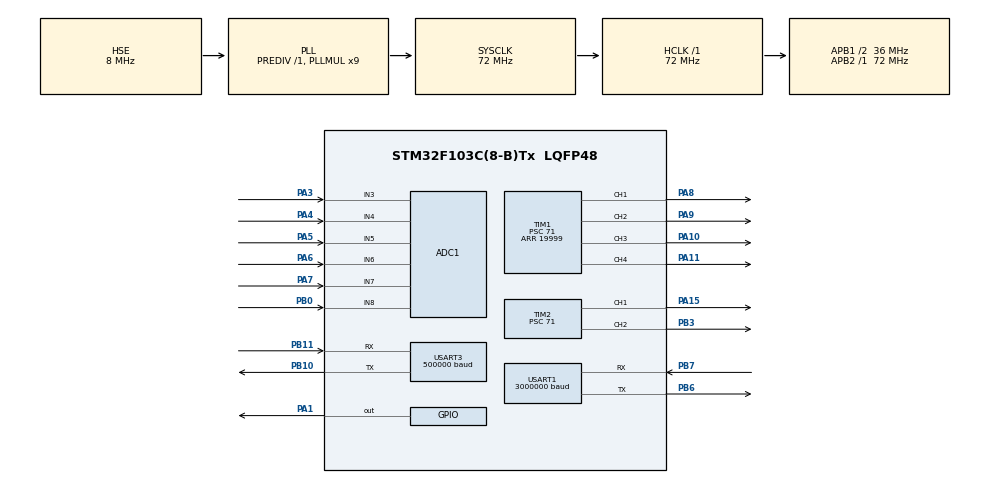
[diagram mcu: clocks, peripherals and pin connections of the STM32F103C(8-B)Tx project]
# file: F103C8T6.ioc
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ADC1.Channel-12\#ChannelRegularConversion=ADC_CHANNEL_3
ADC1.Channel-13\#ChannelRegularConversion=ADC_CHANNEL_4
ADC1.Channel-14\#ChannelRegularConversion=ADC_CHANNEL_5
ADC1.Channel-15\#ChannelRegularConversion=ADC_CHANNEL_6
ADC1.Channel-16\#ChannelRegularConversion=ADC_CHANNEL_7
ADC1.Channel-17\#ChannelRegularConversion=ADC_CHANNEL_8
ADC1.ContinuousConvMode=ENABLE
ADC1.NbrOfConversion=6
ADC1.NbrOfConversionFlag=1
ADC1.Rank-12\#ChannelRegularConversion=1
ADC1.Rank-13\#ChannelRegularConversion=2
ADC1.Rank-14\#ChannelRegularConversion=3
ADC1.Rank-15\#ChannelRegularConversion=4
ADC1.Rank-16\#ChannelRegularConversion=5
ADC1.Rank-17\#ChannelRegularConversion=6
ADC1.SamplingTime-12\#ChannelRegularConversion=ADC_SAMPLETIME_13CYCLES_5
ADC1.SamplingTime-13\#ChannelRegularConversion=ADC_SAMPLETIME_13CYCLES_5
ADC1.SamplingTime-14\#ChannelRegularConversion=ADC_SAMPLETIME_13CYCLES_5
ADC1.SamplingTime-15\#ChannelRegularConversion=ADC_SAMPLETIME_13CYCLES_5
ADC1.SamplingTime-16\#ChannelRegularConversion=ADC_SAMPLETIME_13CYCLES_5
ADC1.SamplingTime-17\#ChannelRegularConversion=ADC_SAMPLETIME_13CYCLES_5
ADC1.master=1
Dma.ADC1.2.Direction=DMA_PERIPH_TO_MEMORY
Dma.ADC1.2.Instance=DMA1_Channel1
Dma.ADC1.2.MemDataAlignment=DMA_MDATAALIGN_HALFWORD
Dma.ADC1.2.MemInc=DMA_MINC_ENABLE
Dma.ADC1.2.Mode=DMA_CIRCULAR
Dma.ADC1.2.PeriphDataAlignment=DMA_PDATAALIGN_HALFWORD
Dma.ADC1.2.PeriphInc=DMA_PINC_DISABLE
Dma.ADC1.2.Priority=DMA_PRIORITY_LOW
Dma.Request0=USART1_RX
Dma.Request1=USART3_RX
Dma.Request2=ADC1
Dma.Request3=USART1_TX
Dma.Request4=USART3_TX
Dma.USART1_RX.0.Direction=DMA_PERIPH_TO_MEMORY
Dma.USART1_RX.0.Instance=DMA1_Channel5
Dma.USART1_RX.0.MemDataAlignment=DMA_MDATAALIGN_BYTE
Dma.USART1_RX.0.MemInc=DMA_MINC_ENABLE
Dma.USART1_RX.0.Mode=DMA_NORMAL
Dma.USART1_RX.0.PeriphDataAlignment=DMA_PDATAALIGN_BYTE
Dma.USART1_RX.0.PeriphInc=DMA_PINC_DISABLE
Dma.USART1_RX.0.Priority=DMA_PRIORITY_LOW
Dma.USART1_TX.3.Direction=DMA_MEMORY_TO_PERIPH
Dma.USART1_TX.3.Instance=DMA1_Channel4
Dma.USART1_TX.3.MemDataAlignment=DMA_MDATAALIGN_BYTE
Dma.USART1_TX.3.MemInc=DMA_MINC_ENABLE
Dma.USART1_TX.3.Mode=DMA_NORMAL
Dma.USART1_TX.3.PeriphDataAlignment=DMA_PDATAALIGN_BYTE
Dma.USART1_TX.3.PeriphInc=DMA_PINC_DISABLE
Dma.USART1_TX.3.Priority=DMA_PRIORITY_LOW
Dma.USART3_RX.1.Direction=DMA_PERIPH_TO_MEMORY
Dma.USART3_RX.1.Instance=DMA1_Channel3
Dma.USART3_RX.1.MemDataAlignment=DMA_MDATAALIGN_HALFWORD
Dma.USART3_RX.1.MemInc=DMA_MINC_ENABLE
Dma.USART3_RX.1.Mode=DMA_NORMAL
Dma.USART3_RX.1.PeriphDataAlignment=DMA_PDATAALIGN_HALFWORD
Dma.USART3_RX.1.PeriphInc=DMA_PINC_DISABLE
Dma.USART3_RX.1.Priority=DMA_PRIORITY_LOW
Dma.USART3_TX.4.Direction=DMA_MEMORY_TO_PERIPH
Dma.USART3_TX.4.Instance=DMA1_Channel2
Dma.USART3_TX.4.MemDataAlignment=DMA_MDATAALIGN_BYTE
Dma.USART3_TX.4.MemInc=DMA_MINC_ENABLE
Dma.USART3_TX.4.Mode=DMA_NORMAL
Dma.USART3_TX.4.PeriphDataAlignment=DMA_PDATAALIGN_BYTE
Dma.USART3_TX.4.PeriphInc=DMA_PINC_DISABLE
Dma.USART3_TX.4.Priority=DMA_PRIORITY_LOW
FREERTOS.BinarySemaphores01=RS485RX,Dynamic,NULL,Depleted
FREERTOS.INCLUDE_xTaskGetHandle=1
FREERTOS.Tasks01=RS485,32,256,RS485Task,Default,NULL,Dynamic,NULL,NULL;SENSOR_GET,10,256,SENSOR_GETTask,Default,NULL,Dynamic,NULL,NULL;DUOJI_MOVE,8,256,DUOJI_MOVETask,Default,NULL,Dynamic,NULL,NULL;JIAOZHUN,9,256,JIAOZHUNTask04,Default,NULL,Dynamic,NULL,NULL
FREERTOS.configTOTAL_HEAP_SIZE=10240
Mcu.Family=STM32F1
Mcu.Name=STM32F103C(8-B)Tx
Mcu.Package=LQFP48
NVIC.DMA1_Channel1_IRQn=true\:5\:0\:false\:false\:true\:true\:false\:true\:true
NVIC.DMA1_Channel2_IRQn=true\:5\:0\:false\:false\:true\:true\:false\:true\:true
NVIC.DMA1_Channel3_IRQn=true\:5\:0\:false\:false\:true\:true\:false\:true\:true
NVIC.DMA1_Channel4_IRQn=true\:5\:0\:false\:false\:true\:true\:false\:true\:true
NVIC.DMA1_Channel5_IRQn=true\:5\:0\:false\:false\:true\:true\:false\:true\:true
NVIC.PriorityGroup=NVIC_PRIORITYGROUP_4
NVIC.TIM3_IRQn=true\:15\:0\:false\:false\:true\:false\:false\:true\:true
NVIC.TimeBase=TIM3_IRQn
NVIC.TimeBaseIP=TIM3
NVIC.USART1_IRQn=true\:5\:0\:false\:false\:true\:true\:true\:true\:true
NVIC.USART3_IRQn=true\:5\:0\:false\:false\:true\:true\:true\:true\:true
PA1.GPIO_Speed=GPIO_SPEED_FREQ_MEDIUM
PA1.Signal=GPIO_Output
PA10.GPIO_ModeDefaultPP=GPIO_MODE_AF_PP
PA10.Signal=S_TIM1_CH3
PA11.GPIO_ModeDefaultPP=GPIO_MODE_AF_PP
PA11.Signal=S_TIM1_CH4
PA13.Mode=Serial_Wire
PA13.Signal=SYS_JTMS-SWDIO
PA14.Mode=Serial_Wire
PA14.Signal=SYS_JTCK-SWCLK
PA15.Signal=S_TIM2_CH1_ETR
PA3.Signal=ADCx_IN3
PA4.Signal=ADCx_IN4
PA5.Signal=ADCx_IN5
PA6.Signal=ADCx_IN6
PA7.Signal=ADCx_IN7
PA8.GPIO_ModeDefaultPP=GPIO_MODE_AF_PP
PA8.Signal=S_TIM1_CH1
PA9.GPIO_ModeDefaultPP=GPIO_MODE_AF_PP
PA9.Signal=S_TIM1_CH2
PB0.Signal=ADCx_IN8
PB10.Mode=Asynchronous
PB10.Signal=USART3_TX
PB11.Mode=Asynchronous
PB11.Signal=USART3_RX
PB3.Signal=S_TIM2_CH2
PB6.Mode=Asynchronous
PB6.Signal=USART1_TX
PB7.Mode=Asynchronous
PB7.Signal=USART1_RX
PD0-OSC_IN.Mode=HSE-External-Oscillator
PD0-OSC_IN.Signal=RCC_OSC_IN
PD1-OSC_OUT.Mode=HSE-External-Oscillator
PD1-OSC_OUT.Signal=RCC_OSC_OUT
ProjectManager.HeapSize=0x200
ProjectManager.StackSize=0x400
ProjectManager.TargetToolchain=MDK-ARM V5.32
RCC.ADCPresc=RCC_ADCPCLK2_DIV6
RCC.AHBFreq_Value=72000000
RCC.APB1CLKDivider=RCC_HCLK_DIV2
RCC.APB1Freq_Value=36000000
RCC.APB1TimFreq_Value=72000000
RCC.APB2Freq_Value=72000000
RCC.APB2TimFreq_Value=72000000
RCC.HCLKFreq_Value=72000000
RCC.PLLMUL=RCC_PLL_MUL9
RCC.PLLSourceVirtual=RCC_PLLSOURCE_HSE
RCC.SYSCLKFreq_VALUE=72000000
RCC.SYSCLKSource=RCC_SYSCLKSOURCE_PLLCLK
RCC.USBFreq_Value=72000000
SH.ADCx_IN3.0=ADC1_IN3,IN3
SH.ADCx_IN4.0=ADC1_IN4,IN4
SH.ADCx_IN5.0=ADC1_IN5,IN5
SH.ADCx_IN6.0=ADC1_IN6,IN6
SH.ADCx_IN7.0=ADC1_IN7,IN7
SH.ADCx_IN8.0=ADC1_IN8,IN8
SH.S_TIM1_CH1.0=TIM1_CH1,PWM Generation1 CH1
SH.S_TIM1_CH2.0=TIM1_CH2,PWM Generation2 CH2
SH.S_TIM1_CH3.0=TIM1_CH3,PWM Generation3 CH3
SH.S_TIM1_CH4.0=TIM1_CH4,PWM Generation4 CH4
SH.S_TIM2_CH1_ETR.0=TIM2_CH1,PWM Generation1 CH1
SH.S_TIM2_CH2.0=TIM2_CH2,PWM Generation2 CH2
TIM1.Channel-PWM\ Generation1\ CH1=TIM_CHANNEL_1
TIM1.Channel-PWM\ Generation2\ CH2=TIM_CHANNEL_2
TIM1.Channel-PWM\ Generation3\ CH3=TIM_CHANNEL_3
TIM1.Channel-PWM\ Generation4\ CH4=TIM_CHANNEL_4
TIM1.CounterMode=TIM_COUNTERMODE_UP
TIM1.Period=19999
TIM1.Prescaler=71
TIM1.Pulse-PWM\ Generation1\ CH1=1261
TIM1.Pulse-PWM\ Generation2\ CH2=1838
TIM1.Pulse-PWM\ Generation3\ CH3=1456
TIM1.Pulse-PWM\ Generation4\ CH4=1488
TIM1.TIM_MasterOutputTrigger=TIM_TRGO_OC1REF
TIM2.Channel-PWM\ Generation1\ CH1=TIM_CHANNEL_1
TIM2.Channel-PWM\ Generation2\ CH2=TIM_CHANNEL_2
TIM2.Period=19999
TIM2.Prescaler=71
TIM2.Pulse-PWM\ Generation1\ CH1=1500
TIM2.Pulse-PWM\ Generation2\ CH2=1612
TIM4.Prescaler=71
USART1.BaudRate=3000000
USART1.VirtualMode=VM_ASYNC
USART3.BaudRate=500000
USART3.VirtualMode=VM_ASYNC
VP_FREERTOS_VS_CMSIS_V2.Mode=CMSIS_V2
VP_SYS_VS_tim3.Mode=TIM3
VP_TIM1_VS_ClockSourceINT.Mode=Internal
VP_TIM2_VS_ClockSourceINT.Mode=Internal
VP_TIM4_VS_ClockSourceINT.Mode=Internal
board=custom

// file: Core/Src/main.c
/* USER CODE BEGIN Header */
/**
  ******************************************************************************
  * @file           : main.c
  * @brief          : Main program body
  ******************************************************************************
  * @attention
  *
  * Copyright (c) 2025 STMicroelectronics.
  * All rights reserved.
  *
  * This software is licensed under terms that can be found in the LICENSE file
  * in the root directory of this software component.
  * If no LICENSE file comes with this software, it is provided AS-IS.
  *
  ******************************************************************************
  */
/* USER CODE END Header */
#include "main.h"
#include "cmsis_os.h"
#include "adc.h"
#include "dma.h"
#include "tim.h"
#include "usart.h"
#include "gpio.h"

/* USER CODE BEGIN Includes */
#include "adc_m.h"
#include "stdio.h"
#include "MYDWT.h"
#include "RS485.h"
#include "Servo_control.h"
/* USER CODE END Includes */

void SystemClock_Config(void);
void MX_FREERTOS_Init(void);

int main(void)
{

  /* MCU Configuration--------------------------------------------------------*/

  /* Reset of all peripherals, Initializes the Flash interface and the Systick. */
  HAL_Init();

  /* Configure the system clock */
  SystemClock_Config();

  /* Initialize all configured peripherals */
  MX_GPIO_Init();
  MX_DMA_Init();
  MX_ADC1_Init();
  MX_TIM1_Init();
  MX_USART1_UART_Init();
  MX_TIM2_Init();
  MX_USART3_UART_Init();
  MX_TIM4_Init();
  /* USER CODE BEGIN 2 */
  HAL_TIM_Base_Start(&htim2);
  HAL_TIM_Base_Start(&htim1);
  HAL_TIM_Base_Start(&htim4);
	ADC_Sample_Start();
	Servo_Parameter_Init();
	RS485_RX_EN
	Enable_DWT_CycleCounter();
	#if 0

	while(1){

	HAL_TIM_PWM_Start(&htim2,TIM_CHANNEL_1);
	HAL_TIM_PWM_Start(&htim2,TIM_CHANNEL_2);
	HAL_TIM_PWM_Start(&htim1,TIM_CHANNEL_1);
	HAL_TIM_PWM_Start(&htim1,TIM_CHANNEL_2);
	HAL_TIM_PWM_Start(&htim1,TIM_CHANNEL_3);
	HAL_TIM_PWM_Start(&htim1,TIM_CHANNEL_4);

	}
	#endif
	//小腿校准前占空比，一定要提前给，Servo_Parameter_Init中的角度再调整的时候也要改

	HAL_TIM_PWM_Start(&htim2,Right_hip_PWMchannel);
  HAL_TIM_PWM_Start(&htim1,Left_hip_PWMchannel);
	HAL_Delay(1500);
		HAL_TIM_PWM_Start(&htim2,Right_thigh_PWMchannel);

  HAL_TIM_PWM_Start(&htim1,Left_thigh_PWMchannel);

	HAL_Delay(1500);

/////////////////////////////小腿电流不够时使用
//	__HAL_TIM_SET_COMPARE(&htim2, Right_hip_PWMchannel , (110) *11.11f + 500);
//	__HAL_TIM_SET_COMPARE(&htim2, Right_thigh_PWMchannel , (34 + 65.94) *11.11f + 500);

//	__HAL_TIM_SET_COMPARE(&htim1, Right_lower_leg_PWMchannel , (18) *11.11f + 500);
//		HAL_TIM_PWM_Start(&htim1,Right_lower_leg_PWMchannel);
//	HAL_TIM_PWM_Start(&htim1,Left_lower_leg_PWMchannel);
//	 while(1)
//	 {
//
//	 }
//
  /* USER CODE END 2 */

  /* Init scheduler */
  osKernelInitialize();  /* Call init function for freertos objects (in cmsis_os2.c) */
  MX_FREERTOS_Init();

  /* Start scheduler */
  osKernelStart();

  /* We should never get here as control is now taken by the scheduler */

  /* Infinite loop */
  while (1)
  {

  }
}

void SystemClock_Config(void)
{
  RCC_OscInitTypeDef RCC_OscInitStruct = {0};
  RCC_ClkInitTypeDef RCC_ClkInitStruct = {0};
  RCC_PeriphCLKInitTypeDef PeriphClkInit = {0};

  /** Initializes the RCC Oscillators according to the specified parameters
  * in the RCC_OscInitTypeDef structure.
  */
  RCC_OscInitStruct.OscillatorType = RCC_OSCILLATORTYPE_HSE;
  RCC_OscInitStruct.HSEState = RCC_HSE_ON;
  RCC_OscInitStruct.HSEPredivValue = RCC_HSE_PREDIV_DIV1;
  RCC_OscInitStruct.HSIState = RCC_HSI_ON;
  RCC_OscInitStruct.PLL.PLLState = RCC_PLL_ON;
  RCC_OscInitStruct.PLL.PLLSource = RCC_PLLSOURCE_HSE;
  RCC_OscInitStruct.PLL.PLLMUL = RCC_PLL_MUL9;
  if (HAL_RCC_OscConfig(&RCC_OscInitStruct) != HAL_OK)
  {
    Error_Handler();
  }

  /** Initializes the CPU, AHB and APB buses clocks
  */
  RCC_ClkInitStruct.ClockType = RCC_CLOCKTYPE_HCLK|RCC_CLOCKTYPE_SYSCLK
                              |RCC_CLOCKTYPE_PCLK1|RCC_CLOCKTYPE_PCLK2;
  RCC_ClkInitStruct.SYSCLKSource = RCC_SYSCLKSOURCE_PLLCLK;
  RCC_ClkInitStruct.AHBCLKDivider = RCC_SYSCLK_DIV1;
  RCC_ClkInitStruct.APB1CLKDivider = RCC_HCLK_DIV2;
  RCC_ClkInitStruct.APB2CLKDivider = RCC_HCLK_DIV1;

  if (HAL_RCC_ClockConfig(&RCC_ClkInitStruct, FLASH_LATENCY_2) != HAL_OK)
  {
    Error_Handler();
  }
  PeriphClkInit.PeriphClockSelection = RCC_PERIPHCLK_ADC;
  PeriphClkInit.AdcClockSelection = RCC_ADCPCLK2_DIV6;
  if (HAL_RCCEx_PeriphCLKConfig(&PeriphClkInit) != HAL_OK)
  {
    Error_Handler();
  }
}

void HAL_TIM_PeriodElapsedCallback(TIM_HandleTypeDef *htim)
{
  if (htim->Instance == TIM3)
  {
    HAL_IncTick();
  }
}

void Error_Handler(void)
{
  __disable_irq();
  while (1)
  {
  }
}

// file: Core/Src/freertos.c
/* USER CODE BEGIN Header */
/**
  ******************************************************************************
  * File Name          : freertos.c
  * Description        : Code for freertos applications
  ******************************************************************************
  * @attention
  *
  * Copyright (c) 2026 STMicroelectronics.
  * All rights reserved.
  *
  * This software is licensed under terms that can be found in the LICENSE file
  * in the root directory of this software component.
  * If no LICENSE file comes with this software, it is provided AS-IS.
  *
  ******************************************************************************
  */
/* USER CODE END Header */

#include "FreeRTOS.h"
#include "task.h"
#include "main.h"
#include "cmsis_os.h"

/* USER CODE BEGIN Includes */
#include "usart.h"
#include "stdio.h"
#include "string.h"
#include "adc_m.h"
#include "semphr.h"
#include "RS485.h"
#include "tim.h"
#include "Servo_control.h"
#include "MYDWT.h"
/* USER CODE END Includes */

/* USER CODE BEGIN PD */
#define  Calibrate_mode      0x11
#define  RS485_control_mode  0x22
#define  MODE  RS485_control_mode
#define  SCurve_turn     1
#define  Direct_turn     2
int servo_start  = 0;
int turn_mode   = SCurve_turn;

/* USER CODE END PD */

/* USER CODE BEGIN Variables */
void vPrintTaskInfo(uint8_t *pucName);
/* USER CODE END Variables */
/* Definitions for RS485 */
osThreadId_t RS485Handle;
const osThreadAttr_t RS485_attributes = {
  .name = "RS485",
  .stack_size = 256 * 4,
  .priority = (osPriority_t) osPriorityAboveNormal,
};
/* Definitions for SENSOR_GET */
osThreadId_t SENSOR_GETHandle;
const osThreadAttr_t SENSOR_GET_attributes = {
  .name = "SENSOR_GET",
  .stack_size = 256 * 4,
  .priority = (osPriority_t) osPriorityLow2,
};
/* Definitions for DUOJI_MOVE */
osThreadId_t DUOJI_MOVEHandle;
const osThreadAttr_t DUOJI_MOVE_attributes = {
  .name = "DUOJI_MOVE",
  .stack_size = 256 * 4,
  .priority = (osPriority_t) osPriorityLow,
};
/* Definitions for JIAOZHUN */
osThreadId_t JIAOZHUNHandle;
const osThreadAttr_t JIAOZHUN_attributes = {
  .name = "JIAOZHUN",
  .stack_size = 256 * 4,
  .priority = (osPriority_t) osPriorityLow1,
};
/* Definitions for RS485RX */
osSemaphoreId_t RS485RXHandle;
const osSemaphoreAttr_t RS485RX_attributes = {
  .name = "RS485RX"
};

void RS485Task(void *argument);
void SENSOR_GETTask(void *argument);
void DUOJI_MOVETask(void *argument);
void JIAOZHUNTask04(void *argument);

void MX_FREERTOS_Init(void); /* (MISRA C 2004 rule 8.1) */

void MX_FREERTOS_Init(void) {

  /* Create the semaphores(s) */
  /* creation of RS485RX */
  RS485RXHandle = osSemaphoreNew(1, 0, &RS485RX_attributes);

  /* Create the thread(s) */
  /* creation of RS485 */
  RS485Handle = osThreadNew(RS485Task, NULL, &RS485_attributes);

  /* creation of SENSOR_GET */
  SENSOR_GETHandle = osThreadNew(SENSOR_GETTask, NULL, &SENSOR_GET_attributes);

  /* creation of DUOJI_MOVE */
  DUOJI_MOVEHandle = osThreadNew(DUOJI_MOVETask, NULL, &DUOJI_MOVE_attributes);

  /* creation of JIAOZHUN */
  JIAOZHUNHandle = osThreadNew(JIAOZHUNTask04, NULL, &JIAOZHUN_attributes);

}

void RS485Task(void *argument)
{
  /* USER CODE BEGIN RS485Task */
  /* Infinite loop */
  for(;;)
  {
    #if OFF  //任务监视窗口函数
	  vPrintTaskInfo((uint8_t *)"RS485" );
	  #endif
     if(xSemaphoreTake(RS485RXHandle, portMAX_DELAY) == pdPASS )  //没有信号量我就把自己挂起来，让其他函数执行
    {
			Analyze_RS485_data();
    }
  }
  /* USER CODE END RS485Task */
}

void SENSOR_GETTask(void *argument)
{
  /* USER CODE BEGIN SENSOR_GETTask */
  double  V_PRE[ADC1_CHANNEL_CNT] = { 0};        //当前电压单位是12位数值
	double  NOW_V[ADC1_CHANNEL_CNT]  ={ 0};       //当前电压单位V
  double  MY_V_PLC = 50;                      //放大倍率
	double  R_Sampling = 0.005;                  //采样电阻阻值
	double  NOW_I[ADC1_CHANNEL_CNT]  = {0};       //当前电流单位A
	double  NOW_I_FLITER[ADC1_CHANNEL_CNT]  = {0};//滤波电流单位A
	double  I_pre[ADC1_CHANNEL_CNT]  = {0};
	int     calibrate_Count[ADC1_CHANNEL_CNT]  =     {0};
  float   I_Max = 2.4;
  /* Infinite loop */
  for(;;)
  {
    #if OFF  //任务监视窗口函数
	  vPrintTaskInfo((uint8_t *)"SENSOR_GET" );
	  #endif
    ADC_Process();
    for(int i = 0;i<ADC1_CHANNEL_CNT;i++)
    {
      V_PRE[i] = value[i] * 3.3 / 4095.0;
      NOW_V[i] = V_PRE[i] / MY_V_PLC;
      NOW_I[i] = NOW_V[i] / R_Sampling;
			NOW_I_FLITER[i] = 0.5 * NOW_I[i] + 0.5* I_pre[i];
			I_pre[i] = NOW_I[i];

      if(NOW_I_FLITER[i] >= I_Max) //校准
      {
				calibrate_Count[i] ++ ;

        if (calibrate_Count[i] >= 3) calibrate_flag[i] = 1;
      }
    }

//调试信息区
//		  printf("%.2f\n",Servo_zero_angle[RIGHT_LOWER_LEG_ID]);
//		  printf("%d,",MOVE_TIME[RIGHT_LOWER_LEG_ID]);
//			printf("%.2f,",CURRENT_ANGLE[RIGHT_LOWER_LEG_ID]);
//			printf("%.2f\n",NOW_I_FLITER[RIGHT_LOWER_LEG_ID]);
//					printf("f%",value[i]);
//		printf(",%.2f",MOVE_TARget[RIGHT_THIGH_ID]);
//		printf(",%d\n",calibrate_flag[RIGHT_THIGH_ID]);
//    Servo_zero_angle_Calibrate();
//    printf("\n");
    osDelay(5);
  }
  /* USER CODE END SENSOR_GETTask */
}

void DUOJI_MOVETask(void *argument)
{
  /* USER CODE BEGIN DUOJI_MOVETask */

//____________模式选择_______________
  // #define   GET_CURRENT_WITHOUT_COSX     //不缓和快速电流测试
  // #define   GET_CURRENT_SLOW             //不缓和慢速电流测试
  // #define   GET_CURRENT_WITH_COSX        //缓和电流测试
  // #define   Impedance_Control            //阻抗控制测试模式
  #define   NOMALL                          //正常工作模式
  /* Infinite loop */
  for(;;)
  {
    #ifdef Impedance_Control
    Servo_Impedance_Control(Left_front_thigh_channel,90,&Left_front_thigh_angle);
    #endif

    #if OFF  //任务监视窗口函数
	  vPrintTaskInfo((uint8_t *)"DUOJI_MOVE" );
	  #endif

    #ifdef GET_CURRENT_WITHOUT_COSX
    __HAL_TIM_SET_COMPARE(&htim1,TIM_CHANNEL_1,500);
    osDelay(2000);
    __HAL_TIM_SET_COMPARE(&htim1,TIM_CHANNEL_1,2500);
    osDelay(2000);
    __HAL_TIM_SET_COMPARE(&htim1,TIM_CHANNEL_1,500);
    osDelay(2000);
    __HAL_TIM_SET_COMPARE(&htim1,TIM_CHANNEL_1,2500);
    osDelay(2000);
    #endif

    #ifdef GET_CURRENT_SLOW

    for(int i = 0;i<2000;i++)
    {
      __HAL_TIM_SET_COMPARE(&htim1,TIM_CHANNEL_1,500+i);
      osDelay(4);
    }

    for(int i = 2000;i>0;i--)
    {
      __HAL_TIM_SET_COMPARE(&htim1,TIM_CHANNEL_1,500+i);
      osDelay(4);
    }

    #endif

    #ifdef GET_CURRENT_WITH_COSX
    if(flag == 0)
    {
      Servo_SCurve_Control(Right_thigh_channel,170,&Right_hind_thigh_angle,1000,1);
//      printf("%.2f\n",Left_front_thigh_angle);
			osDelay(1);
      if(Left_front_thigh_angle >= 169.5)
      {
        flag = 1;
      }
    }
    else if(flag == 1)
    {
      Servo_SCurve_Control(Right_thigh_channel,0,&Right_hind_thigh_angle,1000,1);
//      printf("%.2f\n",Left_front_thigh_angle);
			osDelay(1);
      if(Right_hind_thigh_angle <= 0.5)
      {
        flag = 0;
      }
    }
    #endif

    #ifdef NOMALL

		if ( turn_mode ==  SCurve_turn)
		{
    //左大腿
    Servo_SCurve_Control(Left_thigh_channel,
                        MOVE_TARget[LEFT_THIGH_ID],
                        &CURRENT_ANGLE[LEFT_THIGH_ID],
                        MOVE_TIME[LEFT_THIGH_ID],
                        LEFT_THIGH_ID+1);
    //左小腿
    Servo_SCurve_Control(Left_lower_leg_channel,
                        MOVE_TARget[LEFT_LOWER_LEG_ID],
                        &CURRENT_ANGLE[LEFT_LOWER_LEG_ID],
                        MOVE_TIME[LEFT_LOWER_LEG_ID],
                        LEFT_LOWER_LEG_ID+1);
    //左髋
    Servo_SCurve_Control(Left_hip_channel,
                        MOVE_TARget[LEFT_HIP_ID],
                        &CURRENT_ANGLE[LEFT_HIP_ID],
                        MOVE_TIME[LEFT_HIP_ID],
                        LEFT_HIP_ID+1);
    //右大腿
    Servo_SCurve_Control(Right_thigh_channel,
                        MOVE_TARget[RIGHT_THIGH_ID],
                        &CURRENT_ANGLE[RIGHT_THIGH_ID],
                        MOVE_TIME[RIGHT_THIGH_ID],
                        RIGHT_THIGH_ID+1);
		// printf("MOVE_TARget%.2f\n",MOVE_TARget[RIGHT_THIGH_ID]);
		// printf("CURRENT_ANGLE%.2f\n",CURRENT_ANGLE[RIGHT_THIGH_ID]);
    //右小腿

    Servo_SCurve_Control(Right_lower_leg_channel,
                        MOVE_TARget[RIGHT_LOWER_LEG_ID],
                        &CURRENT_ANGLE[RIGHT_LOWER_LEG_ID],
                        MOVE_TIME[RIGHT_LOWER_LEG_ID],
                        RIGHT_LOWER_LEG_ID+1);
    //右髋
		Servo_SCurve_Control(Right_hip_channel,
												MOVE_TARget[RIGHT_HIP_ID],
												&CURRENT_ANGLE[RIGHT_HIP_ID],
												MOVE_TIME[RIGHT_HIP_ID],
												RIGHT_HIP_ID+1);
		}else if (turn_mode == Direct_turn )
		{

		Servo_Direct_Control(Left_thigh_channel,
										MOVE_TARget[LEFT_THIGH_ID],
										&CURRENT_ANGLE[LEFT_THIGH_ID]);

		Servo_Direct_Control(Left_lower_leg_channel,
                        MOVE_TARget[LEFT_LOWER_LEG_ID],
                        &CURRENT_ANGLE[LEFT_LOWER_LEG_ID]);

		Servo_Direct_Control(Left_hip_channel,
                        MOVE_TARget[LEFT_HIP_ID],
                        &CURRENT_ANGLE[LEFT_HIP_ID]);

		Servo_Direct_Control(Right_thigh_channel,
                        MOVE_TARget[RIGHT_THIGH_ID],
                        &CURRENT_ANGLE[RIGHT_THIGH_ID]);

		Servo_Direct_Control(Right_lower_leg_channel,
                        MOVE_TARget[RIGHT_LOWER_LEG_ID],
                        &CURRENT_ANGLE[RIGHT_LOWER_LEG_ID]);

		Servo_Direct_Control(Right_hip_channel,
												MOVE_TARget[RIGHT_HIP_ID],
												&CURRENT_ANGLE[RIGHT_HIP_ID]);
		}
		osDelay(1);
    #endif

  }
  /* USER CODE END DUOJI_MOVETask */
}

void JIAOZHUNTask04(void *argument)
{
  /* USER CODE BEGIN JIAOZHUNTask04 */
  /* Infinite loop */
  for(;;)
  {
    #if OFF  //任务监视窗口函数
	  vPrintTaskInfo((uint8_t *)"JIAOZHUN" );
	  #endif

		if(MODE == Calibrate_mode)
		{
		Servo_zero_angle_Calibrate();
    osDelay(2);
		}
		else if (MODE == RS485_control_mode)
		{
			static int  CHANNEL_start = 1;
			if (CHANNEL_start)
			{
				HAL_TIM_PWM_Start(&htim1,Right_lower_leg_PWMchannel);
				HAL_TIM_PWM_Start(&htim1,Left_lower_leg_PWMchannel);
				CHANNEL_start = 0;
      //右腿站立
      MOVE_TARget[RIGHT_HIP_ID] =Right_hip_ZERO_angle + RIGHT_hip_SW_angle  ;
      MOVE_TARget[RIGHT_LOWER_LEG_ID] =80.51 - 30  + Right_lower_leg_ZERO_angle + 0;
			MOVE_TARget[RIGHT_THIGH_ID]  = Right_thigh_ZERO_angle + 65.94 + 0;

      //左腿站立
      MOVE_TARget[LEFT_HIP_ID] =Left_hip_ZERO_angle  - LEFT_hip_SW_angle;
      MOVE_TARget[LEFT_LOWER_LEG_ID] = 30 - 80.51f  + Left_lower_leg_ZERO_angle - 0;
			MOVE_TARget[LEFT_THIGH_ID]  = Left_thigh_ZERO_angle - 65.94 - 0;
			for (int i = 0;i<6 ;i ++ )
			{
					MOVE_TIME[i]  = 2000;
			}

				osDelay(2100);
			}
//				for (int i = 0;i<6 ;i ++ )
//			{
//				printf ("%d, ",pulse[i])  ;
//			}
//			printf("\n");
			//舵机0到180是逆时针转

			if ( target_angle_leftleg[1] != 0)
			{

			MOVE_TARget[RIGHT_HIP_ID] =Right_hip_ZERO_angle + RIGHT_hip_SW_angle + target_angle_RIGHTleg[0];

			//公式target_angle_RIGHTleg[1]  ==80.51 - MOVE_TARget[RIGHT_LOWER_LEG_ID] + Right_lower_leg_ZERO_angle + target_angle_RIGHTleg[2]
			MOVE_TARget[RIGHT_LOWER_LEG_ID] =80.51 - target_angle_RIGHTleg[1]  + Right_lower_leg_ZERO_angle + target_angle_RIGHTleg[2];
			MOVE_TARget[RIGHT_THIGH_ID]  = Right_thigh_ZERO_angle + 65.94 + target_angle_RIGHTleg[2];

			MOVE_TARget[LEFT_HIP_ID] =Left_hip_ZERO_angle + target_angle_leftleg[0] - LEFT_hip_SW_angle;

			//公式target_angle_leftleg[1]  ==80.51 + MOVE_TARget[LEFT_LOWER_LEG_ID] - Left_lower_leg_ZERO_angle + target_angle_leftleg[2]
			MOVE_TARget[LEFT_LOWER_LEG_ID] = target_angle_leftleg[1] - 80.51f  + Left_lower_leg_ZERO_angle - target_angle_leftleg[2];
			MOVE_TARget[LEFT_THIGH_ID]  = Left_thigh_ZERO_angle - 65.94 - target_angle_leftleg[2];

			/*调试信息区
			printf("%.2f,%.2f,%.2f\n",MOVE_TARget[RIGHT_HIP_ID],MOVE_TARget[RIGHT_LOWER_LEG_ID],MOVE_TARget[RIGHT_THIGH_ID]);
			printf("%.2f,%.2f,%.2f\n",MOVE_TARget[LEFT_HIP_ID],MOVE_TARget[LEFT_LOWER_LEG_ID],MOVE_TARget[LEFT_THIGH_ID]);
			printf("%d,%d,%d\n",pulse[RIGHT_HIP_ID],pulse[RIGHT_LOWER_LEG_ID],pulse[RIGHT_THIGH_ID]);
			printf("%.2f,%.2f,%.2f\n",target_angle_RIGHTleg[0],target_angle_RIGHTleg[1],target_angle_RIGHTleg[2]);
			printf("%.2f,%.2f,%.2f\n",target_angle_leftleg[0],target_angle_leftleg[1],target_angle_leftleg[2]);
			printf("R%.2f,%.2f,%.2f\n",CURRENT_ANGLE[LEFT_HIP_ID],CURRENT_ANGLE[LEFT_LOWER_LEG_ID],CURRENT_ANGLE[LEFT_THIGH_ID]);
			*/

			for (int i = 0;i<6 ;i ++ )
			{
					MOVE_TIME[i]  = 5;
			}
			osDelay(4);
		}else
    {
      //右腿站立
      MOVE_TARget[RIGHT_HIP_ID] =Right_hip_ZERO_angle + RIGHT_hip_SW_angle  ;
      MOVE_TARget[RIGHT_LOWER_LEG_ID] =80.51 - 60  + Right_lower_leg_ZERO_angle + 30;
			MOVE_TARget[RIGHT_THIGH_ID]  = Right_thigh_ZERO_angle + 65.94 + 30;

      //左腿站立
      MOVE_TARget[LEFT_HIP_ID] =Left_hip_ZERO_angle  - LEFT_hip_SW_angle;
      MOVE_TARget[LEFT_LOWER_LEG_ID] = 60 - 80.51f  + Left_lower_leg_ZERO_angle - 30;
			MOVE_TARget[LEFT_THIGH_ID]  = Left_thigh_ZERO_angle - 65.94 - 30;
			for (int i = 0;i<6 ;i ++ )
			{
					MOVE_TIME[i]  = 2000;
			}

//			if ( __fabs( MOVE_TARget[LEFT_THIGH_ID] - CURRENT_ANGLE[LEFT_THIGH_ID]   ) < 0.5 ){ turn_mode = Direct_turn; }
			osDelay(4);
    }

		}

  }
  /* USER CODE END JIAOZHUNTask04 */
}

/* USER CODE BEGIN Application */
//打印函数状态信息
void vPrintTaskInfo(uint8_t *pucName)
{
    TaskHandle_t TaskHandle;
    TaskStatus_t TaskStatus;

    TaskHandle = xTaskGetHandle((const char *)pucName);

    vTaskGetInfo((TaskHandle_t)TaskHandle,       // 任务句柄
                 (TaskStatus_t *)&TaskStatus,     // 任务信息
                 (BaseType_t)pdTRUE,              // 允许统计任务堆栈历史最小剩余大小
                 (eTaskState)eInvalid);          // 函数自己获取任务运行状态

    printf("任务名称                : %s\r\n",TaskStatus.pcTaskName);
    printf("任务编号                : %d\r\n",(int)TaskStatus.xTaskNumber);
    // printf("任务状态                : %d\r\n",TaskStatus.eCurrentState);
    // printf("任务当前优先级          : %d\r\n",(int)TaskStatus.uxCurrentPriority);
    printf("任务基优先级            : %d\r\n",(int)TaskStatus.uxBasePriority);
    printf("任务栈基地址            : %#x\r\n",(int)TaskStatus.pxStackBase);
    printf("任务栈历史最高水位与栈顶距离 : %d\r\n",TaskStatus.usStackHighWaterMark);
    printf("\r\n");
}

/* USER CODE END Application */
